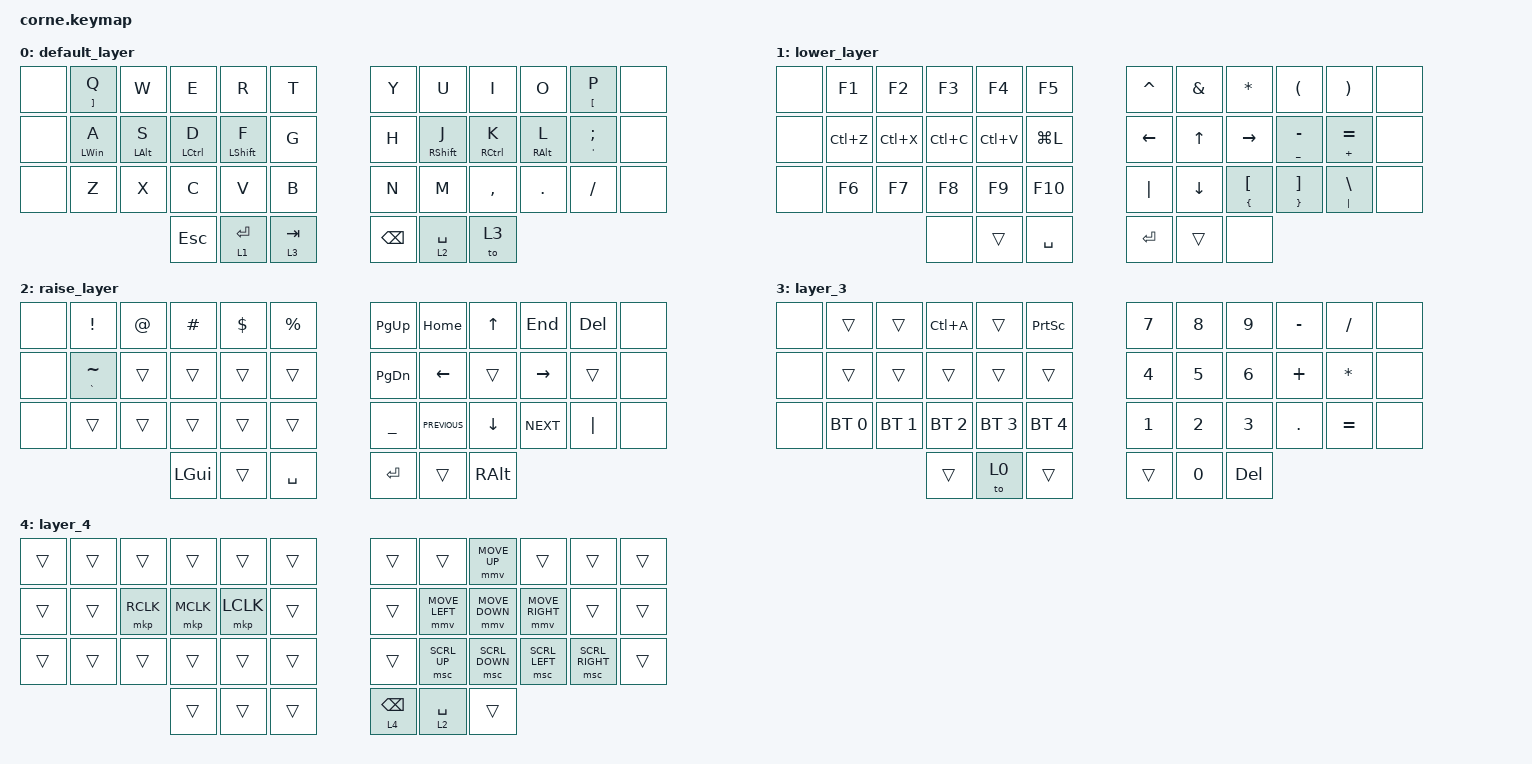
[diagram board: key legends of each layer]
/*
 * Copyright (c) 2020 The ZMK Contributors
 *
 * SPDX-License-Identifier: MIT
 */

#include <behaviors.dtsi>
#include <dt-bindings/zmk/bt.h>
#include <dt-bindings/zmk/keys.h>
#include <dt-bindings/zmk/pointing.h>

/ {
    behaviors {
        HMR: HMR {
            compatible = "zmk,behavior-hold-tap";
            label = "HMR";
            bindings = <&kp>, <&kp>;

            #binding-cells = <2>;
            tapping-term-ms = <280>;
            quick-tap-ms = <175>;
            flavor = "balanced";
            hold-trigger-on-release;
            hold-trigger-key-positions = <1 3 2 4 5 13 14 15 16 17 25 26 27 28 29 36 37 38 39 40 41>;
            require-prior-idle-ms = <150>;
        };

        HML: HML {
            compatible = "zmk,behavior-hold-tap";
            label = "HML";
            bindings = <&kp>, <&kp>;

            #binding-cells = <2>;
            tapping-term-ms = <280>;
            quick-tap-ms = <175>;
            flavor = "balanced";
            hold-trigger-on-release;
            hold-trigger-key-positions = <6 7 8 9 10 6 10 11 18 19 20 21 22 23 30 31 32 33 34 35 39 40 41 36 37 38>;
            require-prior-idle-ms = <150>;
        };
    };

    combos {
        compatible = "zmk,combos";

        Delete {
            bindings = <&kp DELETE>;
            key-positions = <7 8>;
        };

        Caps {
            bindings = <&kp CLCK>;
            key-positions = <4 3>;
        };

        Escape {
            bindings = <&kp ESCAPE>;
            key-positions = <1 2>;
        };
    };

    keymap {
        compatible = "zmk,keymap";

        default_layer {
            // -----------------------------------------------------------------------------------------
            // |  none |  Q  |  W  |  E  |  R  |  T  |   |  Y  |  U   |  I  |  O  |  P  | none |
            // | none |  A  |  S  |  D  |  F  |  G  |   |  H  |  J   |  K  |  L  |  ;  |  none   |
            // | none |  Z  |  X  |  C  |  V  |  B  |   |  N  |  M   |  ,  |  .  |  /  | none  |
            //                    | GUI | LWR | SPC |   | ENT | RSE  | ALT |

            bindings = <
&none  &HML RIGHT_BRACKET Q  &kp W            &kp E         &kp R              &kp T        &kp Y          &kp U               &kp I         &kp O             &HMR LEFT_BRACKET P  &none
&none  &HML LEFT_WIN A       &HML LEFT_ALT S  &HML LCTRL D  &HML LEFT_SHIFT F  &kp G        &kp H          &HML RIGHT_SHIFT J  &HML RCTRL K  &HMR RIGHT_ALT L  &HMR SQT SEMI        &none
&none  &kp Z                 &kp X            &kp C         &kp V              &kp B        &kp N          &kp M               &kp COMMA     &kp DOT           &kp SLASH            &none
                                              &kp ESCAPE    &lt 1 ENTER        &lt 3 TAB    &kp BACKSPACE  &lt 2 SPACE         &to 3
            >;
        };

        lower_layer {
            // -----------------------------------------------------------------------------------------
            // |  none |  1  |  2  |  3  |  4  |  5  |   |  6  |  7  |  8  |  9  |  0  | none |
            // | none| BT1 | BT2 | BT3 | BT4 | BT5 |   | LFT | DWN |  UP | RGT |     |   none   |
            // | none |     |     |     |     |     |   |     |     |     |     |     |   none   |
            //                    | GUI |     | SPC |   | ENT |     | ALT |

            bindings = <
&none  &kp F1     &kp F2     &kp F3     &kp F4     &kp F5       &kp CARET  &kp AMPERSAND  &kp ASTERISK                  &kp LEFT_PARENTHESIS            &kp RIGHT_PARENTHESIS  &none
&none  &kp LC(Z)  &kp LC(X)  &kp LC(C)  &kp LC(V)  &kp LG(L)    &kp LEFT   &kp UP_ARROW   &kp RIGHT                     &HMR UNDER MINUS                &HMR PLUS EQUAL        &none
&none  &kp F6     &kp F7     &kp F8     &kp F9     &kp F10      &kp PIPE   &kp DOWN       &HMR LEFT_BRACE LEFT_BRACKET  &HMR RIGHT_BRACE RIGHT_BRACKET  &HMR PIPE BACKSLASH    &none
                             &none      &trans     &kp SPACE    &kp RET    &trans         &none
            >;
        };

        raise_layer {
            // -----------------------------------------------------------------------------------------
            // |  none |  !  |  @  |  #  |  $  |  %  |   |  ^  |  &  |  *  |  (  |  )  | none |
            // | none |     |     |     |     |     |   |  -  |  =  |  [  |  ]  |  \  |  none   |
            // | none |     |     |     |     |     |   |  _  |  +  |  {  |  }  | "|" |  none   |
            //                    | GUI |     | SPC |   | ENT |     | ALT |

            bindings = <
&none  &kp EXCL          &kp AT  &kp HASH  &kp DLLR  &kp PRCNT    &kp PAGE_UP    &kp HOME        &kp UP_ARROW    &kp END     &kp DELETE  &none
&none  &HML GRAVE TILDE  &trans  &trans    &trans    &trans       &kp PAGE_DOWN  &kp LEFT        &trans          &kp RIGHT   &trans      &none
&none  &trans            &trans  &trans    &trans    &trans       &kp UNDER      &kp C_PREVIOUS  &kp DOWN_ARROW  &kp C_NEXT  &kp PIPE    &none
                                 &kp LGUI  &trans    &kp SPACE    &kp RET        &trans          &kp RALT
            >;
        };

        layer_3 {
            bindings = <
&none  &trans        &trans        &kp LC(A)     &trans        &kp PRINTSCREEN    &kp N7        &kp N8        &kp N9        &kp MINUS   &kp SLASH     &none
&none  &trans        &trans        &trans        &trans        &trans             &kp NUMBER_4  &kp N5        &kp NUMBER_6  &kp PLUS    &kp ASTERISK  &none
&none  &bt BT_SEL 0  &bt BT_SEL 1  &bt BT_SEL 2  &bt BT_SEL 3  &bt BT_SEL 4       &kp NUMBER_1  &kp NUMBER_2  &kp NUMBER_3  &kp PERIOD  &kp EQUAL     &none
                                   &trans        &to 0         &trans             &trans        &kp N0        &kp DELETE
            >;
        };

        layer_4 {
            bindings = <
&trans  &trans  &trans     &trans     &trans     &trans    &trans           &trans          &mmv MOVE_UP    &trans           &trans           &trans
&trans  &trans  &mkp RCLK  &mkp MCLK  &mkp LCLK  &trans    &trans           &mmv MOVE_LEFT  &mmv MOVE_DOWN  &mmv MOVE_RIGHT  &trans           &trans
&trans  &trans  &trans     &trans     &trans     &trans    &trans           &msc SCRL_UP    &msc SCRL_DOWN  &msc SCRL_LEFT   &msc SCRL_RIGHT  &trans
                           &trans     &trans     &trans    &lt 4 BACKSPACE  &lt 2 SPACE     &trans
            >;
        };
    };
};
